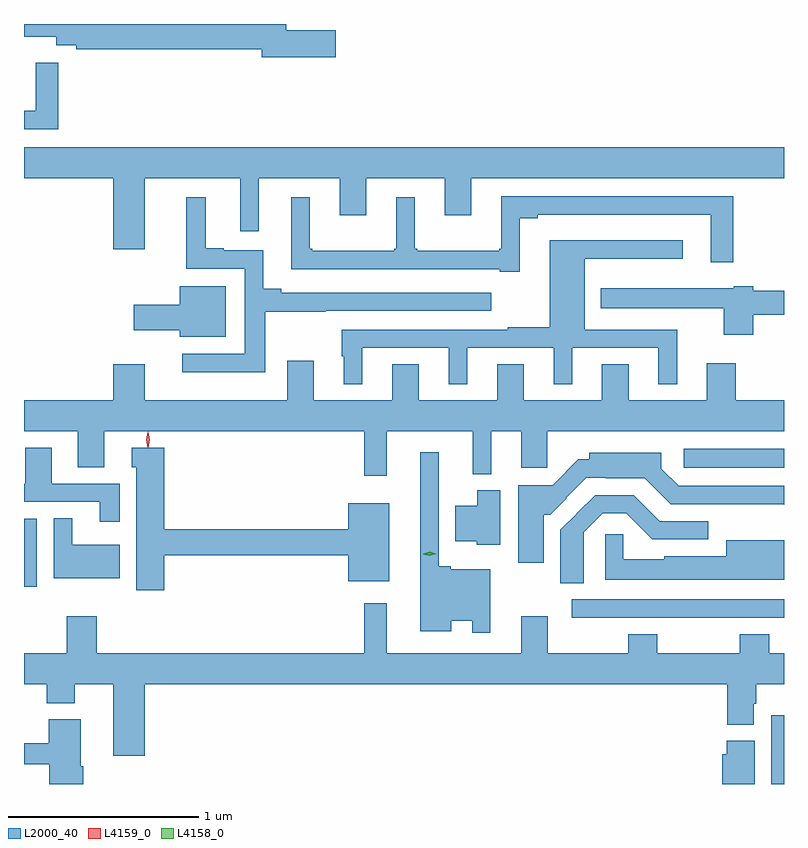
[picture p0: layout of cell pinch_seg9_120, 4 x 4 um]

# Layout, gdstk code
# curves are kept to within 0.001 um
import gdstk
lib = gdstk.Library(unit=1e-6, precision=1e-09)
def R(c, l, rs):  # rectangles x0, y0, x1, y1
    for r in rs: c.add(gdstk.rectangle(r[:2], r[2:], *l))
def P(c, l, *ps):  # polygons
    for p in ps: c.add(gdstk.Polygon(p, *l))
L2000_40 = (2000, 40)
L4158_0 = (4158, 0)
L4159_0 = (4159, 0)

pinch_seg9_120 = lib.new_cell('pinch_seg9_120')
R(pinch_seg9_120, L2000_40, [(827.81,1227.864,827.877,1228.225), (823.877,1228.902,823.945,1229.26)])
P(pinch_seg9_120, L2000_40, [(825.517,1231.832),(825.256,1231.832),(825.256,1231.864),(823.877,1231.864),(823.877,1231.796),(824.048,1231.796),(824.048,1231.752),(824.152,1231.752),(824.152,1231.732),(825.128,1231.732),(825.128,1231.69),(825.517,1231.69)],
  [(824.057,1231.66),(823.94,1231.66),(823.94,1231.408),(823.877,1231.408),(823.877,1231.311),(824.057,1231.311)],
  [(824.512,1231.052),(825.014,1231.052),(825.014,1230.774),(825.112,1230.774),(825.112,1231.052),(825.539,1231.052),(825.539,1230.858),(825.679,1230.858),(825.679,1231.052),(826.091,1231.052),(826.091,1230.858),(826.231,1230.858),(826.231,1231.052),(827.877,1231.052),(827.877,1231.216),(823.877,1231.216),(823.877,1231.052),(824.348,1231.052),(824.348,1230.678),(824.512,1230.678)],
  [(826.486,1230.841),(826.582,1230.841),(826.582,1230.86),(827.492,1230.86),(827.492,1230.609),(827.609,1230.609),(827.609,1230.957),(826.388,1230.957),(826.388,1230.682),(826.377,1230.682),(826.377,1230.671),(825.946,1230.671),(825.946,1230.682),(825.934,1230.682),(825.934,1230.952),(825.836,1230.952),(825.836,1230.682),(825.825,1230.682),(825.825,1230.671),(825.394,1230.671),(825.394,1230.682),(825.382,1230.682),(825.382,1230.952),(825.284,1230.952),(825.284,1230.573),(826.382,1230.573),(826.382,1230.561),(826.486,1230.561)],
  [(825.148,1230.349),(825.464,1230.349),(825.464,1230.354),(826.336,1230.354),(826.336,1230.45),(825.232,1230.45),(825.232,1230.47),(825.136,1230.47),(825.136,1230.672),(824.929,1230.672),(824.929,1230.685),(824.833,1230.685),(824.833,1230.952),(824.732,1230.952),(824.732,1230.576),(825.039,1230.576),(825.039,1230.129),(824.709,1230.129),(824.709,1230.032),(825.148,1230.032)],
  [(825.658,1230.159),(826.112,1230.159),(826.112,1229.969),(826.21,1229.969),(826.21,1230.159),(826.664,1230.159),(826.664,1229.969),(826.762,1229.969),(826.762,1230.159),(827.216,1230.159),(827.216,1229.969),(827.314,1229.969),(827.314,1230.116),(827.316,1230.116),(827.316,1230.255),(826.828,1230.255),(826.828,1230.629),(827.344,1230.629),(827.344,1230.727),(826.643,1230.727),(826.643,1230.268),(826.423,1230.268),(826.423,1230.255),(825.549,1230.255),(825.549,1230.116),(825.56,1230.116),(825.56,1229.969),(825.658,1229.969)],
  [(827.716,1230.333),(827.877,1230.333),(827.877,1230.461),(827.716,1230.461),(827.716,1230.485),(827.612,1230.485),(827.612,1230.472),(826.913,1230.472),(826.913,1230.368),(827.561,1230.368),(827.561,1230.228),(827.716,1230.228)],
  [(824.938,1230.484),(824.696,1230.484),(824.696,1230.386),(824.454,1230.386),(824.454,1230.251),(824.696,1230.251),(824.696,1230.218),(824.938,1230.218)],
  [(825.785,1229.72),(826.238,1229.72),(826.238,1229.495),(826.336,1229.495),(826.336,1229.72),(826.493,1229.72),(826.493,1229.529),(826.631,1229.529),(826.631,1229.72),(827.877,1229.72),(827.877,1229.884),(827.624,1229.884),(827.624,1230.079),(827.471,1230.079),(827.471,1229.884),(827.059,1229.884),(827.059,1230.074),(826.919,1230.074),(826.919,1229.884),(826.507,1229.884),(826.507,1230.074),(826.367,1230.074),(826.367,1229.884),(825.955,1229.884),(825.955,1230.074),(825.815,1230.074),(825.815,1229.884),(825.403,1229.884),(825.403,1230.091),(825.263,1230.091),(825.263,1229.884),(824.512,1229.884),(824.512,1230.073),(824.348,1230.073),(824.348,1229.884),(823.877,1229.884),(823.877,1229.72),(824.159,1229.72),(824.159,1229.53),(824.299,1229.53),(824.299,1229.72),(825.667,1229.72),(825.667,1229.487),(825.785,1229.487)],
  [(824.38,1229.445),(824.023,1229.445),(824.023,1229.635),(823.883,1229.635),(823.883,1229.445),(823.877,1229.445),(823.877,1229.349),(824.276,1229.349),(824.276,1229.244),(824.38,1229.244)],
  [(824.615,1229.068),(825.584,1229.068),(825.584,1228.931),(825.799,1228.931),(825.799,1229.341),(825.584,1229.341),(825.584,1229.204),(824.615,1229.204),(824.615,1229.635),(824.444,1229.635),(824.444,1229.532),(824.468,1229.532),(824.468,1228.884),(824.615,1228.884)],
  [(827.852,1229.529),(827.877,1229.529),(827.877,1229.629),(827.349,1229.629),(827.349,1229.529),(827.461,1229.529),(827.461,1229.528),(827.852,1229.528)],
  [(826.332,1228.993),(826.122,1228.993),(826.122,1229.011),(826.059,1229.011),(826.059,1229.611),(825.962,1229.611),(825.962,1228.667),(826.126,1228.667),(826.126,1228.724),(826.236,1228.724),(826.236,1228.659),(826.332,1228.659)],
  [(826.612,1229.28),(826.646,1229.28),(826.734,1229.367),(826.731,1229.37),(826.836,1229.475),(827.145,1229.474),(827.282,1229.337),(827.877,1229.335),(827.877,1229.433),(827.322,1229.433),(827.232,1229.523),(827.232,1229.608),(826.853,1229.608),(826.853,1229.572),(826.795,1229.572),(826.659,1229.436),(826.478,1229.436),(826.478,1229.028),(826.612,1229.028)],
  [(826.384,1229.41),(826.262,1229.41),(826.262,1229.329),(826.148,1229.329),(826.148,1229.141),(826.26,1229.141),(826.26,1229.123),(826.384,1229.123)],
  [(826.822,1229.188),(826.923,1229.289),(827.046,1229.289),(827.184,1229.151),(827.479,1229.151),(827.479,1229.247),(827.224,1229.247),(827.086,1229.385),(826.883,1229.385),(826.7,1229.201),(826.7,1228.921),(826.822,1228.921)],
  [(824.38,1229.122),(824.131,1229.122),(824.131,1229.264),(824.034,1229.264),(824.034,1228.946),(824.38,1228.946)],
  [(827.877,1229.146),(827.573,1229.146),(827.573,1229.062),(827.247,1229.062),(827.247,1229.047),(827.03,1229.047),(827.03,1229.179),(826.936,1229.179),(826.936,1228.94),(827.877,1228.94)],
  [(827.555,1228.74),(827.877,1228.74),(827.877,1228.836),(826.761,1228.836),(826.761,1228.74),(827.299,1228.74),(827.299,1228.739),(827.555,1228.739)],
  [(824.512,1228.388),(827.579,1228.388),(827.579,1228.177),(827.719,1228.177),(827.719,1228.287),(827.732,1228.287),(827.732,1228.388),(827.877,1228.388),(827.877,1228.552),(827.799,1228.552),(827.799,1228.651),(827.644,1228.651),(827.644,1228.552),(827.211,1228.552),(827.211,1228.651),(827.056,1228.651),(827.056,1228.552),(826.633,1228.552),(826.633,1228.747),(826.493,1228.747),(826.493,1228.552),(825.785,1228.552),(825.785,1228.816),(825.667,1228.816),(825.667,1228.552),(824.261,1228.552),(824.261,1228.747),(824.101,1228.747),(824.101,1228.552),(823.877,1228.552),(823.877,1228.388),(823.996,1228.388),(823.996,1228.289),(824.143,1228.289),(824.143,1228.388),(824.348,1228.388),(824.348,1228.014),(824.512,1228.014)],
  [(824.189,1227.958),(824.176,1227.958),(824.176,1228.204),(824.006,1228.204),(824.006,1228.078),(823.877,1228.078),(823.877,1227.968),(824.011,1227.968),(824.011,1227.864),(824.189,1227.864)],
  [(827.722,1228.092),(827.576,1228.092),(827.576,1228.02),(827.552,1228.02),(827.552,1227.864),(827.722,1227.864)])
P(pinch_seg9_120, L4158_0, [(826.013,1229.066),(825.977,1229.074),(825.977,1229.074),(825.977,1229.075),(826.012,1229.086),(826.048,1229.077),(826.048,1229.077),(826.048,1229.077)])
P(pinch_seg9_120, L4159_0, [(824.53,1229.634),(824.529,1229.635),(824.52,1229.676),(824.529,1229.716),(824.53,1229.717),(824.53,1229.716),(824.54,1229.676),(824.53,1229.635)])

lib.write_gds('pinch_seg9_120.gds')
